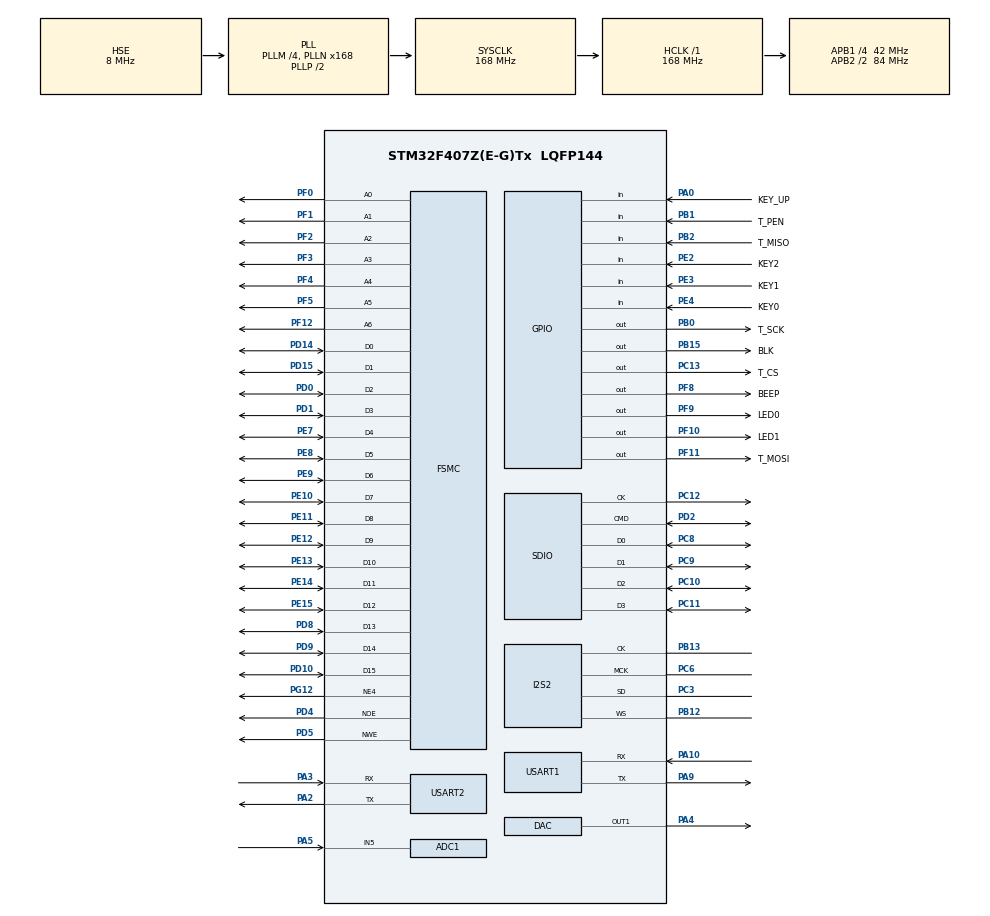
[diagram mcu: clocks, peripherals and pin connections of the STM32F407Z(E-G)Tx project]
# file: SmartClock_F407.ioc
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ADC1.Channel-0\#ChannelRegularConversion=ADC_CHANNEL_5
ADC1.DMAContinuousRequests=ENABLE
ADC1.ExternalTrigConv=ADC_EXTERNALTRIGCONV_T3_TRGO
ADC1.NbrOfConversionFlag=1
ADC1.Rank-0\#ChannelRegularConversion=1
ADC1.SamplingTime-0\#ChannelRegularConversion=ADC_SAMPLETIME_84CYCLES
ADC1.master=1
DAC.DAC_Trigger=DAC_TRIGGER_T6_TRGO
Dma.ADC1.0.Direction=DMA_PERIPH_TO_MEMORY
Dma.ADC1.0.FIFOMode=DMA_FIFOMODE_DISABLE
Dma.ADC1.0.Instance=DMA2_Stream0
Dma.ADC1.0.MemDataAlignment=DMA_MDATAALIGN_HALFWORD
Dma.ADC1.0.MemInc=DMA_MINC_ENABLE
Dma.ADC1.0.Mode=DMA_CIRCULAR
Dma.ADC1.0.PeriphDataAlignment=DMA_PDATAALIGN_HALFWORD
Dma.ADC1.0.PeriphInc=DMA_PINC_DISABLE
Dma.ADC1.0.Priority=DMA_PRIORITY_HIGH
Dma.DAC1.1.Direction=DMA_MEMORY_TO_PERIPH
Dma.DAC1.1.FIFOMode=DMA_FIFOMODE_DISABLE
Dma.DAC1.1.Instance=DMA1_Stream5
Dma.DAC1.1.MemDataAlignment=DMA_MDATAALIGN_HALFWORD
Dma.DAC1.1.MemInc=DMA_MINC_ENABLE
Dma.DAC1.1.Mode=DMA_CIRCULAR
Dma.DAC1.1.PeriphDataAlignment=DMA_PDATAALIGN_HALFWORD
Dma.DAC1.1.PeriphInc=DMA_PINC_DISABLE
Dma.DAC1.1.Priority=DMA_PRIORITY_HIGH
Dma.Request0=ADC1
Dma.Request1=DAC1
Dma.Request2=SDIO_RX
Dma.Request3=SDIO_TX
Dma.Request4=SPI2_TX
Dma.SDIO_RX.2.Direction=DMA_PERIPH_TO_MEMORY
Dma.SDIO_RX.2.FIFOMode=DMA_FIFOMODE_ENABLE
Dma.SDIO_RX.2.FIFOThreshold=DMA_FIFO_THRESHOLD_FULL
Dma.SDIO_RX.2.Instance=DMA2_Stream3
Dma.SDIO_RX.2.MemBurst=DMA_MBURST_INC4
Dma.SDIO_RX.2.MemDataAlignment=DMA_MDATAALIGN_WORD
Dma.SDIO_RX.2.MemInc=DMA_MINC_ENABLE
Dma.SDIO_RX.2.Mode=DMA_PFCTRL
Dma.SDIO_RX.2.PeriphBurst=DMA_PBURST_INC4
Dma.SDIO_RX.2.PeriphDataAlignment=DMA_PDATAALIGN_WORD
Dma.SDIO_RX.2.PeriphInc=DMA_PINC_DISABLE
Dma.SDIO_RX.2.Priority=DMA_PRIORITY_HIGH
Dma.SDIO_TX.3.Direction=DMA_MEMORY_TO_PERIPH
Dma.SDIO_TX.3.FIFOMode=DMA_FIFOMODE_ENABLE
Dma.SDIO_TX.3.FIFOThreshold=DMA_FIFO_THRESHOLD_FULL
Dma.SDIO_TX.3.Instance=DMA2_Stream6
Dma.SDIO_TX.3.MemBurst=DMA_MBURST_INC4
Dma.SDIO_TX.3.MemDataAlignment=DMA_MDATAALIGN_WORD
Dma.SDIO_TX.3.MemInc=DMA_MINC_ENABLE
Dma.SDIO_TX.3.Mode=DMA_PFCTRL
Dma.SDIO_TX.3.PeriphBurst=DMA_PBURST_INC4
Dma.SDIO_TX.3.PeriphDataAlignment=DMA_PDATAALIGN_WORD
Dma.SDIO_TX.3.PeriphInc=DMA_PINC_DISABLE
Dma.SDIO_TX.3.Priority=DMA_PRIORITY_HIGH
Dma.SPI2_TX.4.Direction=DMA_MEMORY_TO_PERIPH
Dma.SPI2_TX.4.FIFOMode=DMA_FIFOMODE_DISABLE
Dma.SPI2_TX.4.Instance=DMA1_Stream4
Dma.SPI2_TX.4.MemDataAlignment=DMA_MDATAALIGN_HALFWORD
Dma.SPI2_TX.4.MemInc=DMA_MINC_ENABLE
Dma.SPI2_TX.4.Mode=DMA_CIRCULAR
Dma.SPI2_TX.4.PeriphDataAlignment=DMA_PDATAALIGN_HALFWORD
Dma.SPI2_TX.4.PeriphInc=DMA_PINC_DISABLE
Dma.SPI2_TX.4.Priority=DMA_PRIORITY_HIGH
FREERTOS.Tasks01=defaultTask,24,1024,StartDefaultTask,Default,NULL,Dynamic,NULL,NULL
FREERTOS.configENABLE_FPU=1
FREERTOS.configMAX_CO_ROUTINE_PRIORITIES=7
FREERTOS.configTOTAL_HEAP_SIZE=40960
FSMC.AddressSetupTime4=15
FSMC.BusTurnAroundDuration4=0
FSMC.DataSetupTime4=60
FSMC.ExtendedAddressSetupTime4=9
FSMC.ExtendedBusTurnAroundDuration4=0
FSMC.ExtendedDataSetupTime4=8
FSMC.ExtendedMode4=FSMC_EXTENDED_MODE_ENABLE
FSMC.WriteOperation4=FSMC_WRITE_OPERATION_ENABLE
I2S2.AudioFreq=I2S_AUDIOFREQ_16K
I2S2.ErrorAudioFreq=-0.26 %
I2S2.FullDuplexMode=I2S_FULLDUPLEXMODE_DISABLE
I2S2.Instance=SPI$Index
I2S2.RealAudioFreq=15.957 KHz
I2S2.VirtualMode=I2S_MODE_MASTER
Mcu.Family=STM32F4
Mcu.Name=STM32F407Z(E-G)Tx
Mcu.Package=LQFP144
NVIC.DMA1_Stream4_IRQn=true\:5\:0\:false\:false\:true\:true\:false\:true\:true
NVIC.DMA1_Stream5_IRQn=true\:5\:0\:false\:false\:true\:true\:false\:true\:true
NVIC.DMA2_Stream0_IRQn=true\:5\:0\:false\:false\:true\:true\:false\:true\:true
NVIC.DMA2_Stream3_IRQn=true\:5\:0\:false\:false\:true\:true\:false\:true\:true
NVIC.DMA2_Stream6_IRQn=true\:5\:0\:false\:false\:true\:true\:false\:true\:true
NVIC.PriorityGroup=NVIC_PRIORITYGROUP_4
NVIC.RTC_Alarm_IRQn=true\:5\:0\:false\:false\:true\:true\:true\:true\:true
NVIC.TIM7_IRQn=true\:0\:0\:true\:false\:true\:false\:false\:true\:true
NVIC.TimeBase=TIM7_IRQn
NVIC.TimeBaseIP=TIM7
PA0-WKUP.GPIO_Label=KEY_UP
PA0-WKUP.GPIO_PuPd=GPIO_PULLDOWN
PA0-WKUP.Signal=GPIO_Input
PA10.Mode=Asynchronous
PA10.Signal=USART1_RX
PA13.Mode=Serial_Wire
PA13.Signal=SYS_JTMS-SWDIO
PA14.Mode=Serial_Wire
PA14.Signal=SYS_JTCK-SWCLK
PA2.Mode=Asynchronous
PA2.Signal=USART2_TX
PA3.Mode=Asynchronous
PA3.Signal=USART2_RX
PA4.Signal=COMP_DAC1_group
PA5.Signal=ADCx_IN5
PA9.Mode=Asynchronous
PA9.Signal=USART1_TX
PB0.GPIO_Label=T_SCK
PB0.GPIO_Speed=GPIO_SPEED_FREQ_VERY_HIGH
PB0.Signal=GPIO_Output
PB1.GPIO_Label=T_PEN
PB1.Signal=GPIO_Input
PB12.Mode=Half_Duplex_Master
PB12.Signal=I2S2_WS
PB13.Mode=Half_Duplex_Master
PB13.Signal=I2S2_CK
PB15.GPIO_Label=BLK
PB15.PinState=GPIO_PIN_SET
PB15.Signal=GPIO_Output
PB2.GPIO_Label=T_MISO
PB2.Signal=GPIO_Input
PC10.Mode=SD_4_bits_Wide_bus
PC10.Signal=SDIO_D2
PC11.Mode=SD_4_bits_Wide_bus
PC11.Signal=SDIO_D3
PC12.Mode=SD_4_bits_Wide_bus
PC12.Signal=SDIO_CK
PC13-ANTI_TAMP.GPIO_Label=T_CS
PC13-ANTI_TAMP.PinState=GPIO_PIN_SET
PC13-ANTI_TAMP.Signal=GPIO_Output
PC14-OSC32_IN.Mode=LSE-External-Oscillator
PC14-OSC32_IN.Signal=RCC_OSC32_IN
PC15-OSC32_OUT.Mode=LSE-External-Oscillator
PC15-OSC32_OUT.Signal=RCC_OSC32_OUT
PC3.Mode=Half_Duplex_Master
PC3.Signal=I2S2_SD
PC6.Mode=Master_Clock_Activated
PC6.Signal=I2S2_MCK
PC8.Mode=SD_4_bits_Wide_bus
PC8.Signal=SDIO_D0
PC9.Mode=SD_4_bits_Wide_bus
PC9.Signal=SDIO_D1
PD0.Signal=FSMC_D2_DA2
PD1.Signal=FSMC_D3_DA3
PD10.Signal=FSMC_D15_DA15
PD14.Signal=FSMC_D0_DA0
PD15.Signal=FSMC_D1_DA1
PD2.Mode=SD_4_bits_Wide_bus
PD2.Signal=SDIO_CMD
PD4.Signal=FSMC_NOE
PD5.Signal=FSMC_NWE
PD8.Signal=FSMC_D13_DA13
PD9.Signal=FSMC_D14_DA14
PE10.Signal=FSMC_D7_DA7
PE11.Signal=FSMC_D8_DA8
PE12.Signal=FSMC_D9_DA9
PE13.Signal=FSMC_D10_DA10
PE14.Signal=FSMC_D11_DA11
PE15.Signal=FSMC_D12_DA12
PE2.GPIO_Label=KEY2
PE2.GPIO_PuPd=GPIO_PULLUP
PE2.Signal=GPIO_Input
PE3.GPIO_Label=KEY1
PE3.GPIO_PuPd=GPIO_PULLUP
PE3.Signal=GPIO_Input
PE4.GPIO_Label=KEY0
PE4.GPIO_PuPd=GPIO_PULLUP
PE4.Signal=GPIO_Input
PE7.Signal=FSMC_D4_DA4
PE8.Signal=FSMC_D5_DA5
PE9.Signal=FSMC_D6_DA6
PF0.Signal=FSMC_A0
PF1.Signal=FSMC_A1
PF10.GPIO_Label=LED1
PF10.Signal=GPIO_Output
PF11.GPIO_Label=T_MOSI
PF11.GPIO_Speed=GPIO_SPEED_FREQ_VERY_HIGH
PF11.Signal=GPIO_Output
PF12.Signal=FSMC_A6
PF2.Signal=FSMC_A2
PF3.Signal=FSMC_A3
PF4.Signal=FSMC_A4
PF5.Signal=FSMC_A5
PF8.GPIO_Label=BEEP
PF8.Signal=GPIO_Output
PF9.GPIO_Label=LED0
PF9.Signal=GPIO_Output
PG12.Mode=NorPsramChipSelect4_4
PG12.Signal=FSMC_NE4
PH0-OSC_IN.Mode=HSE-External-Oscillator
PH0-OSC_IN.Signal=RCC_OSC_IN
PH1-OSC_OUT.Mode=HSE-External-Oscillator
PH1-OSC_OUT.Signal=RCC_OSC_OUT
ProjectManager.HeapSize=0x200
ProjectManager.StackSize=0x400
ProjectManager.TargetToolchain=MDK-ARM V5.32
RCC.48MHZClocksFreq_Value=48000000
RCC.AHBFreq_Value=168000000
RCC.APB1CLKDivider=RCC_HCLK_DIV4
RCC.APB1Freq_Value=42000000
RCC.APB1TimFreq_Value=84000000
RCC.APB2CLKDivider=RCC_HCLK_DIV2
RCC.APB2Freq_Value=84000000
RCC.APB2TimFreq_Value=168000000
RCC.CortexFreq_Value=168000000
RCC.HCLKFreq_Value=168000000
RCC.HSE_VALUE=8000000
RCC.HSI_VALUE=16000000
RCC.PLLM=4
RCC.PLLN=168
RCC.PLLQ=7
RCC.PLLSourceVirtual=RCC_PLLSOURCE_HSE
RCC.RCC_RTC_Clock_Source=RCC_RTCCLKSOURCE_LSE
RCC.RCC_RTC_Clock_SourceVirtual=RCC_RTCCLKSOURCE_LSE
RCC.SYSCLKFreq_VALUE=168000000
RCC.SYSCLKSource=RCC_SYSCLKSOURCE_PLLCLK
RCC.VCOOutputFreq_Value=336000000
RTC.Alarm=RTC_ALARM_A
RTC.Alarm_B=RTC_ALARM_B
RTC.Date=8
RTC.Hours_B=0
RTC.Minutes_B=0
RTC.Month=RTC_MONTH_SEPTEMBER
RTC.WeekDay=RTC_WEEKDAY_TUESDAY
SH.ADCx_IN5.0=ADC1_IN5,IN5
SH.COMP_DAC1_group.0=DAC_OUT1,DAC_OUT1
SH.FSMC_A0.0=FSMC_A0,7b-a4
SH.FSMC_A1.0=FSMC_A1,7b-a4
SH.FSMC_A2.0=FSMC_A2,7b-a4
SH.FSMC_A3.0=FSMC_A3,7b-a4
SH.FSMC_A4.0=FSMC_A4,7b-a4
SH.FSMC_A5.0=FSMC_A5,7b-a4
SH.FSMC_A6.0=FSMC_A6,7b-a4
SH.FSMC_D0_DA0.0=FSMC_D0,16b-d4
SH.FSMC_D10_DA10.0=FSMC_D10,16b-d4
SH.FSMC_D11_DA11.0=FSMC_D11,16b-d4
SH.FSMC_D12_DA12.0=FSMC_D12,16b-d4
SH.FSMC_D13_DA13.0=FSMC_D13,16b-d4
SH.FSMC_D14_DA14.0=FSMC_D14,16b-d4
SH.FSMC_D15_DA15.0=FSMC_D15,16b-d4
SH.FSMC_D1_DA1.0=FSMC_D1,16b-d4
SH.FSMC_D2_DA2.0=FSMC_D2,16b-d4
SH.FSMC_D3_DA3.0=FSMC_D3,16b-d4
SH.FSMC_D4_DA4.0=FSMC_D4,16b-d4
SH.FSMC_D5_DA5.0=FSMC_D5,16b-d4
SH.FSMC_D6_DA6.0=FSMC_D6,16b-d4
SH.FSMC_D7_DA7.0=FSMC_D7,16b-d4
SH.FSMC_D8_DA8.0=FSMC_D8,16b-d4
SH.FSMC_D9_DA9.0=FSMC_D9,16b-d4
SH.FSMC_NOE.0=FSMC_NOE,Sram4
SH.FSMC_NWE.0=FSMC_NWE,Sram4
TIM3.Period=1049
TIM3.Prescaler=0
TIM3.TIM_MasterOutputTrigger=TIM_TRGO_UPDATE
TIM6.Period=6562
TIM6.TIM_MasterOutputTrigger=TIM_TRGO_UPDATE
USART1.VirtualMode=VM_ASYNC
USART2.VirtualMode=VM_ASYNC
VP_FATFS_VS_Generic.Mode=User_defined
VP_FREERTOS_VS_CMSIS_V2.Mode=CMSIS_V2
VP_RTC_VS_RTC_Activate.Mode=RTC_Enabled
VP_RTC_VS_RTC_Alarm_A_Intern.Mode=Alarm A
VP_RTC_VS_RTC_Alarm_B_Intern.Mode=Alarm B
VP_RTC_VS_RTC_Calendar.Mode=RTC_Calendar
VP_SYS_VS_tim7.Mode=TIM7
VP_TIM3_VS_ClockSourceINT.Mode=Internal
VP_TIM6_VS_ClockSourceINT.Mode=Enable_Timer
board=custom

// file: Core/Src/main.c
/* USER CODE BEGIN Header */
/**
  ******************************************************************************
  * @file           : main.c
  * @brief          : Main program body
  ******************************************************************************
  * @attention
  *
  * Copyright (c) 2026 STMicroelectronics.
  * All rights reserved.
  *
  * This software is licensed under terms that can be found in the LICENSE file
  * in the root directory of this software component.
  * If no LICENSE file comes with this software, it is provided AS-IS.
  *
  ******************************************************************************
  */
/* USER CODE END Header */
#include "main.h"
#include "cmsis_os.h"
#include "fatfs.h"

/* USER CODE BEGIN Includes */
#include "bsp_board.h"
#include "bsp_touch.h"
#include "bsp_lvgl.h"
#include "lcd.h"
#include <stdio.h>

/* This bare-metal application does not receive argc/argv from a debugger. */
#if defined(__ARMCC_VERSION) && (__ARMCC_VERSION >= 6010000)
int const __ARM_use_no_argv __attribute__((used)) = 0;
#endif

/* USER CODE END Includes */

ADC_HandleTypeDef hadc1;
DMA_HandleTypeDef hdma_adc1;

DAC_HandleTypeDef hdac;
DMA_HandleTypeDef hdma_dac1;

I2S_HandleTypeDef hi2s2;
DMA_HandleTypeDef hdma_spi2_tx;

RTC_HandleTypeDef hrtc;

SD_HandleTypeDef hsd;
DMA_HandleTypeDef hdma_sdio_rx;
DMA_HandleTypeDef hdma_sdio_tx;

TIM_HandleTypeDef htim3;
TIM_HandleTypeDef htim6;

UART_HandleTypeDef huart1;
UART_HandleTypeDef huart2;

SRAM_HandleTypeDef hsram4;

/* Definitions for defaultTask */
osThreadId_t defaultTaskHandle;
const osThreadAttr_t defaultTask_attributes = {
  .name = "defaultTask",
  .stack_size = 1024 * 4,
  /* Audio playback is polling-based; keep it below LVGL so the clock and
     display continue refreshing while a voice file is being sent. */
  .priority = (osPriority_t) osPriorityBelowNormal,
};
osThreadId_t lvglTaskHandle;
const osThreadAttr_t lvglTask_attributes = {
  .name = "lvglTask",
  .stack_size = 1024 * 8,
  .priority = (osPriority_t) osPriorityNormal,
};
osThreadId_t audioTaskHandle;
const osThreadAttr_t audioTask_attributes = {
  .name = "audioTask",
  .stack_size = 1024 * 3,
  .priority = (osPriority_t) osPriorityAboveNormal,
};

void SystemClock_Config(void);
static void MX_GPIO_Init(void);
static void MX_DMA_Init(void);
static void MX_ADC1_Init(void);
static void MX_RTC_Init(void);
static void MX_DAC_Init(void);
static void MX_TIM3_Init(void);
static void MX_FSMC_Init(void);
static void MX_SDIO_SD_Init(void);
static void MX_TIM6_Init(void);
static void MX_I2S2_Init(void);
static void MX_USART1_UART_Init(void);
static void MX_USART2_UART_Init(void);
void StartDefaultTask(void *argument);
void StartAudioTask(void *argument);

/* USER CODE BEGIN 0 */

/* Normal operation: LEDs are driven by StartDefaultTask, not from the TIM7
   interrupt.  Set to 1 only when diagnosing scheduler/tick failures. */
#define TIM7_LED_DIAGNOSTIC 0U

/* HardFault capture for the LVGL object-creation diagnostic.  Read these
   symbols in the Keil Watch window after a fault; no semihosting is used. */
volatile uint32_t bsp_hardfault_cfsr;
volatile uint32_t bsp_hardfault_hfsr;
volatile uint32_t bsp_hardfault_mmfar;
volatile uint32_t bsp_hardfault_bfar;
volatile uint32_t bsp_hardfault_pc;
volatile uint32_t bsp_hardfault_lr;
volatile uint32_t bsp_hardfault_sp;
volatile uint32_t bsp_hardfault_xpsr;
volatile uint32_t bsp_hardfault_exc_return;

/* USER CODE END 0 */

int main(void)
{

  /* MCU Configuration--------------------------------------------------------*/

  /* Reset of all peripherals, Initializes the Flash interface and the Systick. */
  HAL_Init();

  /* Configure the system clock */
  SystemClock_Config();

  /* Initialize all configured peripherals */
  MX_GPIO_Init();
  MX_DMA_Init();
  MX_ADC1_Init();
  MX_RTC_Init();
  MX_DAC_Init();
  MX_TIM3_Init();
  /* LCD_Init() owns the FSMC/LCD initialization, matching the known-good
     L8_ADC_ST project. Do not initialize the same FSMC bank twice. */
  // MX_FSMC_Init();
  MX_SDIO_SD_Init();
  MX_TIM6_Init();
  MX_I2S2_Init();
  MX_USART1_UART_Init();
  MX_USART2_UART_Init();
  MX_FATFS_Init();
  /* USER CODE BEGIN 2 */
  BSP_Board_Init();
//  BSP_Buzzer_Beep(80U);
  /* Keep startup independent of the blocking debug UART. */
  (void)BSP_LCD_InitAndShow();
  /* Initialize LVGL before the scheduler, then run its handler in lvglTask. */
  BSP_LVGL_Init();
  /* Do not access FatFs before osKernelStart().  With a card inserted,
     f_mount() performs real SDIO/DMA transfers and may wait for completion. */
  // BSP_Log(BSP_SD_MountAndProbe() == 0U ? "[SELFTEST] SD/FatFs mount OK\r\n" : "[SELFTEST] SD/FatFs mount FAILED\r\n");

  /* USER CODE END 2 */

  /* Init scheduler */
  osKernelInitialize();

  /* Create the thread(s) */
  /* creation of defaultTask */
  defaultTaskHandle = osThreadNew(StartDefaultTask, NULL, &defaultTask_attributes);
  lvglTaskHandle = osThreadNew(BSP_LVGL_Task, NULL, &lvglTask_attributes);
  audioTaskHandle = osThreadNew(StartAudioTask, NULL, &audioTask_attributes);

  /* Start scheduler */
  osKernelStart();

  /* We should never get here as control is now taken by the scheduler */

  /* osKernelStart() takes control of the CPU; this code is intentionally
     unreachable. LCD refresh is performed by StartDefaultTask below. */
}

void SystemClock_Config(void)
{
  RCC_OscInitTypeDef RCC_OscInitStruct = {0};
  RCC_ClkInitTypeDef RCC_ClkInitStruct = {0};

  /** Configure the main internal regulator output voltage
  */
  __HAL_RCC_PWR_CLK_ENABLE();
  __HAL_PWR_VOLTAGESCALING_CONFIG(PWR_REGULATOR_VOLTAGE_SCALE1);

  /** Initializes the RCC Oscillators according to the specified parameters
  * in the RCC_OscInitTypeDef structure.
  */
  RCC_OscInitStruct.OscillatorType = RCC_OSCILLATORTYPE_HSE|RCC_OSCILLATORTYPE_LSE;
  RCC_OscInitStruct.HSEState = RCC_HSE_ON;
  RCC_OscInitStruct.LSEState = RCC_LSE_ON;
  RCC_OscInitStruct.PLL.PLLState = RCC_PLL_ON;
  RCC_OscInitStruct.PLL.PLLSource = RCC_PLLSOURCE_HSE;
  RCC_OscInitStruct.PLL.PLLM = 4;
  RCC_OscInitStruct.PLL.PLLN = 168;
  RCC_OscInitStruct.PLL.PLLP = RCC_PLLP_DIV2;
  RCC_OscInitStruct.PLL.PLLQ = 7;
  if (HAL_RCC_OscConfig(&RCC_OscInitStruct) != HAL_OK)
  {
    Error_Handler();
  }

  /** Initializes the CPU, AHB and APB buses clocks
  */
  RCC_ClkInitStruct.ClockType = RCC_CLOCKTYPE_HCLK|RCC_CLOCKTYPE_SYSCLK
                              |RCC_CLOCKTYPE_PCLK1|RCC_CLOCKTYPE_PCLK2;
  RCC_ClkInitStruct.SYSCLKSource = RCC_SYSCLKSOURCE_PLLCLK;
  RCC_ClkInitStruct.AHBCLKDivider = RCC_SYSCLK_DIV1;
  RCC_ClkInitStruct.APB1CLKDivider = RCC_HCLK_DIV4;
  RCC_ClkInitStruct.APB2CLKDivider = RCC_HCLK_DIV2;

  if (HAL_RCC_ClockConfig(&RCC_ClkInitStruct, FLASH_LATENCY_5) != HAL_OK)
  {
    Error_Handler();
  }
}

static void MX_ADC1_Init(void)
{

  ADC_ChannelConfTypeDef sConfig = {0};

  /** Configure the global features of the ADC (Clock, Resolution, Data Alignment and number of conversion)
  */
  hadc1.Instance = ADC1;
  hadc1.Init.ClockPrescaler = ADC_CLOCK_SYNC_PCLK_DIV4;
  hadc1.Init.Resolution = ADC_RESOLUTION_12B;
  hadc1.Init.ScanConvMode = DISABLE;
  hadc1.Init.ContinuousConvMode = DISABLE;
  hadc1.Init.DiscontinuousConvMode = DISABLE;
  hadc1.Init.ExternalTrigConvEdge = ADC_EXTERNALTRIGCONVEDGE_RISING;
  hadc1.Init.ExternalTrigConv = ADC_EXTERNALTRIGCONV_T3_TRGO;
  hadc1.Init.DataAlign = ADC_DATAALIGN_RIGHT;
  hadc1.Init.NbrOfConversion = 1;
  hadc1.Init.DMAContinuousRequests = ENABLE;
  hadc1.Init.EOCSelection = ADC_EOC_SINGLE_CONV;
  if (HAL_ADC_Init(&hadc1) != HAL_OK)
  {
    Error_Handler();
  }

  /** Configure for the selected ADC regular channel its corresponding rank in the sequencer and its sample time.
  */
  sConfig.Channel = ADC_CHANNEL_5;
  sConfig.Rank = 1;
  sConfig.SamplingTime = ADC_SAMPLETIME_84CYCLES;
  if (HAL_ADC_ConfigChannel(&hadc1, &sConfig) != HAL_OK)
  {
    Error_Handler();
  }

}

static void MX_DAC_Init(void)
{

  DAC_ChannelConfTypeDef sConfig = {0};

  /** DAC Initialization
  */
  hdac.Instance = DAC;
  if (HAL_DAC_Init(&hdac) != HAL_OK)
  {
    Error_Handler();
  }

  /** DAC channel OUT1 config
  */
  sConfig.DAC_Trigger = DAC_TRIGGER_T6_TRGO;
  sConfig.DAC_OutputBuffer = DAC_OUTPUTBUFFER_ENABLE;
  if (HAL_DAC_ConfigChannel(&hdac, &sConfig, DAC_CHANNEL_1) != HAL_OK)
  {
    Error_Handler();
  }

}

static void MX_I2S2_Init(void)
{

  hi2s2.Instance = SPI2;
  hi2s2.Init.Mode = I2S_MODE_MASTER_TX;
  hi2s2.Init.Standard = I2S_STANDARD_PHILIPS;
  hi2s2.Init.DataFormat = I2S_DATAFORMAT_16B;
  hi2s2.Init.MCLKOutput = I2S_MCLKOUTPUT_ENABLE;
  hi2s2.Init.AudioFreq = I2S_AUDIOFREQ_16K;
  hi2s2.Init.CPOL = I2S_CPOL_LOW;
  hi2s2.Init.ClockSource = I2S_CLOCK_PLL;
  hi2s2.Init.FullDuplexMode = I2S_FULLDUPLEXMODE_DISABLE;
  if (HAL_I2S_Init(&hi2s2) != HAL_OK)
  {
    Error_Handler();
  }

}

static void MX_RTC_Init(void)
{

  RTC_TimeTypeDef sTime = {0};
  RTC_DateTypeDef sDate = {0};
  RTC_AlarmTypeDef sAlarm = {0};

  /** Initialize RTC Only
  */
  hrtc.Instance = RTC;
  hrtc.Init.HourFormat = RTC_HOURFORMAT_24;
  hrtc.Init.AsynchPrediv = 127;
  hrtc.Init.SynchPrediv = 255;
  hrtc.Init.OutPut = RTC_OUTPUT_DISABLE;
  hrtc.Init.OutPutPolarity = RTC_OUTPUT_POLARITY_HIGH;
  hrtc.Init.OutPutType = RTC_OUTPUT_TYPE_OPENDRAIN;
  if (HAL_RTC_Init(&hrtc) != HAL_OK)
  {
    Error_Handler();
  }

  /** Initialize RTC and set the Time and Date
  */
  sTime.Hours = 0x0;
  sTime.Minutes = 0x0;
  sTime.Seconds = 0x0;
  sTime.DayLightSaving = RTC_DAYLIGHTSAVING_NONE;
  sTime.StoreOperation = RTC_STOREOPERATION_RESET;
  if (HAL_RTC_SetTime(&hrtc, &sTime, RTC_FORMAT_BCD) != HAL_OK)
  {
    Error_Handler();
  }
  sDate.WeekDay = RTC_WEEKDAY_TUESDAY;
  sDate.Month = RTC_MONTH_SEPTEMBER;
  sDate.Date = 0x8;
  sDate.Year = 0x0;

  if (HAL_RTC_SetDate(&hrtc, &sDate, RTC_FORMAT_BCD) != HAL_OK)
  {
    Error_Handler();
  }

  /** Enable the Alarm A
  */
  sAlarm.AlarmTime.Hours = 0x0;
  sAlarm.AlarmTime.Minutes = 0x0;
  sAlarm.AlarmTime.Seconds = 0x0;
  sAlarm.AlarmTime.SubSeconds = 0x0;
  sAlarm.AlarmTime.DayLightSaving = RTC_DAYLIGHTSAVING_NONE;
  sAlarm.AlarmTime.StoreOperation = RTC_STOREOPERATION_RESET;
  sAlarm.AlarmMask = RTC_ALARMMASK_NONE;
  sAlarm.AlarmSubSecondMask = RTC_ALARMSUBSECONDMASK_ALL;
  sAlarm.AlarmDateWeekDaySel = RTC_ALARMDATEWEEKDAYSEL_DATE;
  sAlarm.AlarmDateWeekDay = 0x1;
  sAlarm.Alarm = RTC_ALARM_A;
  if (HAL_RTC_SetAlarm_IT(&hrtc, &sAlarm, RTC_FORMAT_BCD) != HAL_OK)
  {
    Error_Handler();
  }

  /** Enable the Alarm B
  */
  sAlarm.Alarm = RTC_ALARM_B;
  if (HAL_RTC_SetAlarm_IT(&hrtc, &sAlarm, RTC_FORMAT_BCD) != HAL_OK)
  {
    Error_Handler();
  }

}

static void MX_SDIO_SD_Init(void)
{

  hsd.Instance = SDIO;
  hsd.Init.ClockEdge = SDIO_CLOCK_EDGE_RISING;
  hsd.Init.ClockBypass = SDIO_CLOCK_BYPASS_DISABLE;
  hsd.Init.ClockPowerSave = SDIO_CLOCK_POWER_SAVE_DISABLE;
  hsd.Init.BusWide = SDIO_BUS_WIDE_1B;
  hsd.Init.HardwareFlowControl = SDIO_HARDWARE_FLOW_CONTROL_DISABLE;
  /* Start SDIO at a conservative 12 MHz. This improves read reliability on
     long board traces and allows FatFs to mount before any audio playback. */
  hsd.Init.ClockDiv = 2;
  if (HAL_SD_Init(&hsd) != HAL_OK)
  {
    /* SD card is optional during board bring-up.  Do not prevent LCD and
       other drivers from starting when no card is inserted or detected. */
    return;
  }
  /* Keep the card in 1-bit mode for the first reliable FatFs/audio path.
     The audio stream is far below the 1-bit SDIO bandwidth, while this avoids
     read failures caused by a marginal D1-D3 connection or pull-up network. */

}

static void MX_TIM3_Init(void)
{

  TIM_ClockConfigTypeDef sClockSourceConfig = {0};
  TIM_MasterConfigTypeDef sMasterConfig = {0};

  htim3.Instance = TIM3;
  htim3.Init.Prescaler = 0;
  htim3.Init.CounterMode = TIM_COUNTERMODE_UP;
  htim3.Init.Period = 1049;
  htim3.Init.ClockDivision = TIM_CLOCKDIVISION_DIV1;
  htim3.Init.AutoReloadPreload = TIM_AUTORELOAD_PRELOAD_DISABLE;
  if (HAL_TIM_Base_Init(&htim3) != HAL_OK)
  {
    Error_Handler();
  }
  sClockSourceConfig.ClockSource = TIM_CLOCKSOURCE_INTERNAL;
  if (HAL_TIM_ConfigClockSource(&htim3, &sClockSourceConfig) != HAL_OK)
  {
    Error_Handler();
  }
  sMasterConfig.MasterOutputTrigger = TIM_TRGO_UPDATE;
  sMasterConfig.MasterSlaveMode = TIM_MASTERSLAVEMODE_DISABLE;
  if (HAL_TIMEx_MasterConfigSynchronization(&htim3, &sMasterConfig) != HAL_OK)
  {
    Error_Handler();
  }

}

static void MX_TIM6_Init(void)
{

  TIM_MasterConfigTypeDef sMasterConfig = {0};

  htim6.Instance = TIM6;
  htim6.Init.Prescaler = 0;
  htim6.Init.CounterMode = TIM_COUNTERMODE_UP;
  htim6.Init.Period = 6562;
  htim6.Init.AutoReloadPreload = TIM_AUTORELOAD_PRELOAD_DISABLE;
  if (HAL_TIM_Base_Init(&htim6) != HAL_OK)
  {
    Error_Handler();
  }
  sMasterConfig.MasterOutputTrigger = TIM_TRGO_UPDATE;
  sMasterConfig.MasterSlaveMode = TIM_MASTERSLAVEMODE_DISABLE;
  if (HAL_TIMEx_MasterConfigSynchronization(&htim6, &sMasterConfig) != HAL_OK)
  {
    Error_Handler();
  }

}

static void MX_USART1_UART_Init(void)
{

  huart1.Instance = USART1;
  huart1.Init.BaudRate = 115200;
  huart1.Init.WordLength = UART_WORDLENGTH_8B;
  huart1.Init.StopBits = UART_STOPBITS_1;
  huart1.Init.Parity = UART_PARITY_NONE;
  huart1.Init.Mode = UART_MODE_TX_RX;
  huart1.Init.HwFlowCtl = UART_HWCONTROL_NONE;
  huart1.Init.OverSampling = UART_OVERSAMPLING_16;
  if (HAL_UART_Init(&huart1) != HAL_OK)
  {
    Error_Handler();
  }

}

static void MX_USART2_UART_Init(void)
{

  huart2.Instance = USART2;
  huart2.Init.BaudRate = 115200;
  huart2.Init.WordLength = UART_WORDLENGTH_8B;
  huart2.Init.StopBits = UART_STOPBITS_1;
  huart2.Init.Parity = UART_PARITY_NONE;
  huart2.Init.Mode = UART_MODE_TX_RX;
  huart2.Init.HwFlowCtl = UART_HWCONTROL_NONE;
  huart2.Init.OverSampling = UART_OVERSAMPLING_16;
  if (HAL_UART_Init(&huart2) != HAL_OK)
  {
    Error_Handler();
  }

}

static void MX_DMA_Init(void)
{

  /* DMA controller clock enable */
  __HAL_RCC_DMA2_CLK_ENABLE();
  __HAL_RCC_DMA1_CLK_ENABLE();

  /* DMA interrupt init */
  /* DMA1_Stream4_IRQn interrupt configuration */
  HAL_NVIC_SetPriority(DMA1_Stream4_IRQn, 5, 0);
  HAL_NVIC_EnableIRQ(DMA1_Stream4_IRQn);
  /* DMA1_Stream5_IRQn interrupt configuration */
  HAL_NVIC_SetPriority(DMA1_Stream5_IRQn, 5, 0);
  HAL_NVIC_EnableIRQ(DMA1_Stream5_IRQn);
  /* DMA2_Stream0_IRQn interrupt configuration */
  HAL_NVIC_SetPriority(DMA2_Stream0_IRQn, 5, 0);
  HAL_NVIC_EnableIRQ(DMA2_Stream0_IRQn);
  /* DMA2_Stream3_IRQn interrupt configuration */
  HAL_NVIC_SetPriority(DMA2_Stream3_IRQn, 5, 0);
  HAL_NVIC_EnableIRQ(DMA2_Stream3_IRQn);
  /* DMA2_Stream6_IRQn interrupt configuration */
  HAL_NVIC_SetPriority(DMA2_Stream6_IRQn, 5, 0);
  HAL_NVIC_EnableIRQ(DMA2_Stream6_IRQn);

}

static void MX_GPIO_Init(void)
{
  GPIO_InitTypeDef GPIO_InitStruct = {0};

  /* GPIO Ports Clock Enable */
  __HAL_RCC_GPIOE_CLK_ENABLE();
  __HAL_RCC_GPIOC_CLK_ENABLE();
  __HAL_RCC_GPIOF_CLK_ENABLE();
  __HAL_RCC_GPIOH_CLK_ENABLE();
  __HAL_RCC_GPIOA_CLK_ENABLE();
  __HAL_RCC_GPIOB_CLK_ENABLE();
  __HAL_RCC_GPIOD_CLK_ENABLE();
  __HAL_RCC_GPIOG_CLK_ENABLE();

  /*Configure GPIO pin Output Level */
  HAL_GPIO_WritePin(T_CS_GPIO_Port, T_CS_Pin, GPIO_PIN_SET);

  /*Configure GPIO pin Output Level */
  HAL_GPIO_WritePin(GPIOF, BEEP_Pin|LED0_Pin|LED1_Pin|T_MOSI_Pin, GPIO_PIN_RESET);
  HAL_GPIO_WritePin(GPIOF, BEEP_Pin, GPIO_PIN_RESET);

  /*Configure GPIO pin Output Level */
  HAL_GPIO_WritePin(T_SCK_GPIO_Port, T_SCK_Pin, GPIO_PIN_RESET);

  /*Configure GPIO pin Output Level */
  HAL_GPIO_WritePin(BLK_GPIO_Port, BLK_Pin, GPIO_PIN_SET);

  /*Configure GPIO pins : KEY2_Pin KEY1_Pin KEY0_Pin */
  GPIO_InitStruct.Pin = KEY2_Pin|KEY1_Pin|KEY0_Pin;
  GPIO_InitStruct.Mode = GPIO_MODE_INPUT;
  GPIO_InitStruct.Pull = GPIO_PULLUP;
  HAL_GPIO_Init(GPIOE, &GPIO_InitStruct);

  /*Configure GPIO pin : T_CS_Pin */
  GPIO_InitStruct.Pin = T_CS_Pin;
  GPIO_InitStruct.Mode = GPIO_MODE_OUTPUT_PP;
  GPIO_InitStruct.Pull = GPIO_NOPULL;
  GPIO_InitStruct.Speed = GPIO_SPEED_FREQ_LOW;
  HAL_GPIO_Init(T_CS_GPIO_Port, &GPIO_InitStruct);

  /*Configure GPIO pins : BEEP_Pin LED0_Pin LED1_Pin */
  GPIO_InitStruct.Pin = BEEP_Pin|LED0_Pin|LED1_Pin;
  GPIO_InitStruct.Mode = GPIO_MODE_OUTPUT_PP;
  GPIO_InitStruct.Pull = GPIO_NOPULL;
  GPIO_InitStruct.Speed = GPIO_SPEED_FREQ_LOW;
  HAL_GPIO_Init(GPIOF, &GPIO_InitStruct);

  /*Configure GPIO pin : KEY_UP_Pin */
  GPIO_InitStruct.Pin = KEY_UP_Pin;
  GPIO_InitStruct.Mode = GPIO_MODE_INPUT;
  GPIO_InitStruct.Pull = GPIO_PULLDOWN;
  HAL_GPIO_Init(KEY_UP_GPIO_Port, &GPIO_InitStruct);

  /*Configure GPIO pin : T_SCK_Pin */
  GPIO_InitStruct.Pin = T_SCK_Pin;
  GPIO_InitStruct.Mode = GPIO_MODE_OUTPUT_PP;
  GPIO_InitStruct.Pull = GPIO_NOPULL;
  GPIO_InitStruct.Speed = GPIO_SPEED_FREQ_VERY_HIGH;
  HAL_GPIO_Init(T_SCK_GPIO_Port, &GPIO_InitStruct);

  /*Configure GPIO pins : T_PEN_Pin T_MISO_Pin */
  GPIO_InitStruct.Pin = T_PEN_Pin|T_MISO_Pin;
  GPIO_InitStruct.Mode = GPIO_MODE_INPUT;
  GPIO_InitStruct.Pull = GPIO_NOPULL;
  HAL_GPIO_Init(GPIOB, &GPIO_InitStruct);

  /*Configure GPIO pin : T_MOSI_Pin */
  GPIO_InitStruct.Pin = T_MOSI_Pin;
  GPIO_InitStruct.Mode = GPIO_MODE_OUTPUT_PP;
  GPIO_InitStruct.Pull = GPIO_NOPULL;
  GPIO_InitStruct.Speed = GPIO_SPEED_FREQ_VERY_HIGH;
  HAL_GPIO_Init(T_MOSI_GPIO_Port, &GPIO_InitStruct);

  /*Configure GPIO pin : BLK_Pin */
  GPIO_InitStruct.Pin = BLK_Pin;
  GPIO_InitStruct.Mode = GPIO_MODE_OUTPUT_PP;
  GPIO_InitStruct.Pull = GPIO_NOPULL;
  GPIO_InitStruct.Speed = GPIO_SPEED_FREQ_LOW;
  HAL_GPIO_Init(BLK_GPIO_Port, &GPIO_InitStruct);

}

/* FSMC initialization function */
static void MX_FSMC_Init(void)
{

  FSMC_NORSRAM_TimingTypeDef Timing = {0};
  FSMC_NORSRAM_TimingTypeDef ExtTiming = {0};

  /** Perform the SRAM4 memory initialization sequence
  */
  hsram4.Instance = FSMC_NORSRAM_DEVICE;
  hsram4.Extended = FSMC_NORSRAM_EXTENDED_DEVICE;
  /* hsram4.Init */
  hsram4.Init.NSBank = FSMC_NORSRAM_BANK4;
  hsram4.Init.DataAddressMux = FSMC_DATA_ADDRESS_MUX_DISABLE;
  hsram4.Init.MemoryType = FSMC_MEMORY_TYPE_SRAM;
  hsram4.Init.MemoryDataWidth = FSMC_NORSRAM_MEM_BUS_WIDTH_16;
  hsram4.Init.BurstAccessMode = FSMC_BURST_ACCESS_MODE_DISABLE;
  hsram4.Init.WaitSignalPolarity = FSMC_WAIT_SIGNAL_POLARITY_LOW;
  hsram4.Init.WrapMode = FSMC_WRAP_MODE_DISABLE;
  hsram4.Init.WaitSignalActive = FSMC_WAIT_TIMING_BEFORE_WS;
  hsram4.Init.WriteOperation = FSMC_WRITE_OPERATION_ENABLE;
  hsram4.Init.WaitSignal = FSMC_WAIT_SIGNAL_DISABLE;
  hsram4.Init.ExtendedMode = FSMC_EXTENDED_MODE_ENABLE;
  hsram4.Init.AsynchronousWait = FSMC_ASYNCHRONOUS_WAIT_DISABLE;
  hsram4.Init.WriteBurst = FSMC_WRITE_BURST_DISABLE;
  hsram4.Init.PageSize = FSMC_PAGE_SIZE_NONE;
  /* Timing */
  Timing.AddressSetupTime = 15;
  Timing.AddressHoldTime = 15;
  Timing.DataSetupTime = 60;
  Timing.BusTurnAroundDuration = 0;
  Timing.CLKDivision = 16;
  Timing.DataLatency = 17;
  Timing.AccessMode = FSMC_ACCESS_MODE_A;
  /* ExtTiming */
  ExtTiming.AddressSetupTime = 9;
  ExtTiming.AddressHoldTime = 15;
  ExtTiming.DataSetupTime = 8;
  ExtTiming.BusTurnAroundDuration = 0;
  ExtTiming.CLKDivision = 16;
  ExtTiming.DataLatency = 17;
  ExtTiming.AccessMode = FSMC_ACCESS_MODE_A;

  if (HAL_SRAM_Init(&hsram4, &Timing, &ExtTiming) != HAL_OK)
  {
    Error_Handler( );
  }

}

void StartDefaultTask(void *argument)
{
  /* USER CODE BEGIN 5 */
  uint32_t blink = 0U;
  uint8_t led_state = 0U;
  uint8_t sd_tested = 0U;
  uint32_t last_led_tick = 0U;
  uint32_t last_time_chime_key = 0xFFFFFFFFU;
  RTC_TimeTypeDef chime_time = {0};
  RTC_DateTypeDef chime_date = {0};
  /* UART self-test logging is intentionally disabled here.  The polling
     transmit can block a task when the debug UART is not available. */
  // BSP_Log("\r\n[SELFTEST] SmartClock driver test started\r\n");
  // BSP_Log("[SELFTEST] ADC/DAC/Touch/SD/Audio checks are active\r\n");

  /* Infinite loop */
  for(;;)
  {
    uint32_t task_now = HAL_GetTick();

    /* USART2 responses are serviced from the always-running default task,
       independent of LVGL rendering or page changes. */
    BSP_GameSerial_Service();
    /* Scheduler/LCD coexistence indicator: the two LEDs alternate every 500 ms. */
    if ((uint32_t)(task_now - last_led_tick) >= 500U)
    {
      last_led_tick = task_now;
      led_state = (uint8_t)!led_state;
      BSP_LED_Set(0U, led_state);
      BSP_LED_Set(1U, (uint8_t)!led_state);
    }

    /* The 24 converted voice files are mapped to hours 1..24; midnight
       uses 24.wav.  Mark the hour before playback so a slow SD/audio path
       cannot trigger the same chime twice. */
    (void)HAL_RTC_GetTime(&hrtc, &chime_time, RTC_FORMAT_BIN);
    (void)HAL_RTC_GetDate(&hrtc, &chime_date, RTC_FORMAT_BIN);
    {
      uint32_t chime_key = ((uint32_t)chime_date.Year * 13U +
                            chime_date.Month) * 32U + chime_date.Date;
      chime_key = chime_key * 24U + chime_time.Hours;
      /* Give the 500 ms task a generous first-30-second window after the
         minute changes. The key prevents duplicate playback in that window. */
      /* A time edit must not turn an arbitrary time such as 01:59:54
         into a chime. Only the real hourly window is allowed to play.
         Discard a pending post-edit request outside that window. */
      uint8_t in_hour_chime_window =
          (chime_time.Minutes == 0U && chime_time.Seconds < 5U) ? 1U : 0U;
      if (BSP_TimeChime_IsAfterTimeEditPending() != 0U &&
          in_hour_chime_window == 0U)
      {
        BSP_TimeChime_ClearAfterTimeEdit();
      }
      if (BSP_TimeChime_IsEnabled() != 0U &&
          BSP_TimeChime_IsTimeEditing() == 0U &&
          in_hour_chime_window != 0U &&
          chime_key != last_time_chime_key)
      {
        uint8_t voice_hour = (chime_time.Hours == 0U) ? 24U : chime_time.Hours;
        /* Submit the chime to the dedicated audio task.  The default task
           must never block on SD/I2S playback. */
        BSP_Audio_RequestHour(voice_hour);
        last_time_chime_key = chime_key;
        BSP_TimeChime_ClearAfterTimeEdit();
      }
    }

    if ((blink % 100U) == 0U)
    {
      uint16_t adc = BSP_ADC_Average();
      char message[48];
      int length = snprintf(message, sizeof(message), "[SELFTEST] ADC raw=%u key=%u\r\n", adc, BSP_Key_Read());
      /* UART self-test output is disabled while validating the display task. */
      (void)length;
    }

    /* SD/FatFs probe is intentionally disabled while validating LVGL scheduling.
       Re-enable it after the display task and LEDs are verified. */
    /*
    if ((sd_tested == 0U) && (blink >= 2U))
    {
      (void)BSP_SD_MountAndProbe();
      sd_tested = 1U;
    }
    */
    (void)sd_tested;

    blink++;
    /* Keep serial ACKs, queued game effects and the LED scheduler responsive. */
    osDelay(5U);
}
  /* USER CODE END 5 */
}

void StartAudioTask(void *argument)
{
  (void)argument;
  for (;;)
  {
    BSP_Audio_ProcessPending();
    osDelay(1U);
  }
}

void HAL_TIM_PeriodElapsedCallback(TIM_HandleTypeDef *htim)
{
  if (htim->Instance == TIM7)
  {
    HAL_IncTick();

#if (TIM7_LED_DIAGNOSTIC == 1U)
    static uint16_t tim7_led_divider;
    static uint8_t tim7_led_phase;

    tim7_led_divider++;
    if (tim7_led_divider >= 500U)
    {
      tim7_led_divider = 0U;
      tim7_led_phase = (uint8_t)!tim7_led_phase;
      BSP_LED_Set(0U, tim7_led_phase);
      BSP_LED_Set(1U, (uint8_t)!tim7_led_phase);
    }
#endif
  }
}

void Error_Handler(void)
{
  __disable_irq();
  while (1)
  {
  }
}
#ifdef USE_FULL_ASSERT
/**
  * @brief  Reports the name of the source file and the source line number
  *         where the assert_param error has occurred.
  * @param  file: pointer to the source file name
  * @param  line: assert_param error line source number
  * @retval None
  */
void assert_failed(uint8_t *file, uint32_t line)
{
  /* USER CODE BEGIN 6 */
  /* Use BSP_Log() here if assert reporting is needed. */
  /* USER CODE END 6 */
}
#endif /* USE_FULL_ASSERT */
